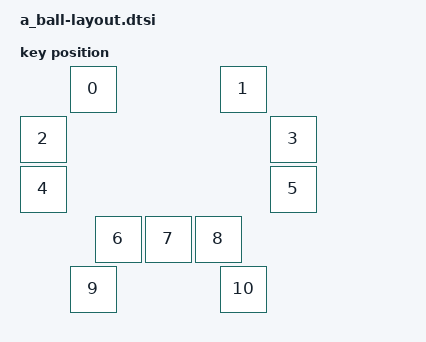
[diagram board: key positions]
#include <physical_layouts.dtsi>

/ {
    a_ball_layout: a_ball_layout {
        compatible = "zmk,physical-layout";
        display-name = "Default";

        keys  //                     w   h    x    y     rot    rx    ry
            = <&key_physical_attrs 100 100  150    0       0     0     0>
            , <&key_physical_attrs 100 100  450    0       0     0     0>
            , <&key_physical_attrs 100 100   50  100       0     0     0>
            , <&key_physical_attrs 100 100  550  100       0     0     0>
            , <&key_physical_attrs 100 100   50  200       0     0     0>
            , <&key_physical_attrs 100 100  550  200       0     0     0>
            , <&key_physical_attrs 100 100  200  300       0     0     0>
            , <&key_physical_attrs 100 100  300  300       0     0     0>
            , <&key_physical_attrs 100 100  400  300       0     0     0>
            , <&key_physical_attrs 100 100  150  400       0     0     0>
            , <&key_physical_attrs 100 100  450  400       0     0     0>
           ;
    };
};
